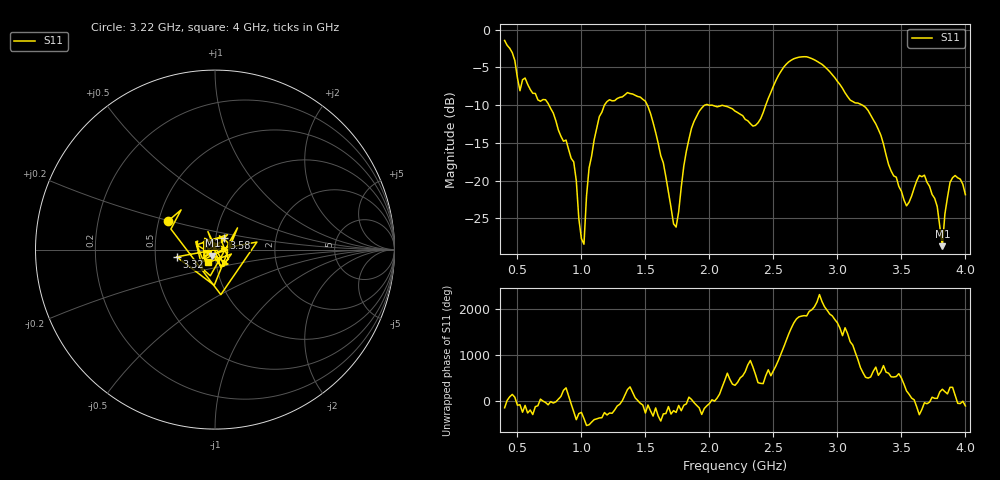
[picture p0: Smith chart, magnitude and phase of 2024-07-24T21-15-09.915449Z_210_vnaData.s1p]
!Created with skrf (http://scikit-rf.org).
# Hz S RI R 50.0
!freq ReS11 ImS11
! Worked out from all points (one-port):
!   181 points, 400 MHz to 4 GHz, reference 50 ohm
!   lowest |S11| = -28.7 dB at 3.82 GHz (marker M1), VSWR 1.08, Z = 48.5 - j3.29 ohm
!   |S11| at or under -10 dB: 1.515 GHz to 1.966 GHz (451.5 MHz wide, 25.9 % of centre); 1.994 GHz to 2.44 GHz (445.9 MHz wide, 20.1 % of centre); 3.194 GHz to end of sweep (the widest 3 of 4)
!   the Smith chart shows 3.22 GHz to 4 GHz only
!   S11 on the Smith chart (normalised r, x): 3.22 GHz: 0.56, +0.20; 3.32 GHz: 0.65, -0.05; 3.58 GHz: 1.09, +0.14; 4 GHz: 0.92, -0.13
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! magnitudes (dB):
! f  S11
! 400 MHz  -1.4
! 520 MHz  -8.1
! 720 MHz  -9.3
! 860 MHz  -14.8
! 940 MHz  -17.5
! 1.02 GHz  -28.4
! 1.06 GHz  -18.3
! 1.14 GHz  -11.5
! 1.3 GHz  -9.0
! 1.5 GHz  -9.5
! 1.64 GHz  -17.7
! 1.72 GHz  -25.7
! 1.76 GHz  -24.1
! 1.82 GHz  -16.1
! 1.92 GHz  -10.8
! 2.2 GHz  -10.8
! 2.36 GHz  -12.7
! 2.66 GHz  -3.9
! 3.1 GHz  -9.3
! 3.22 GHz  -10.3
! 3.32 GHz  -13.2
! 3.56 GHz  -22.9
! 3.58 GHz  -22.0
! 3.68 GHz  -19.3
! 3.78 GHz  -23.4
! 3.82 GHz  -28.7
! 3.88 GHz  -20.2
! 4 GHz  -21.9
